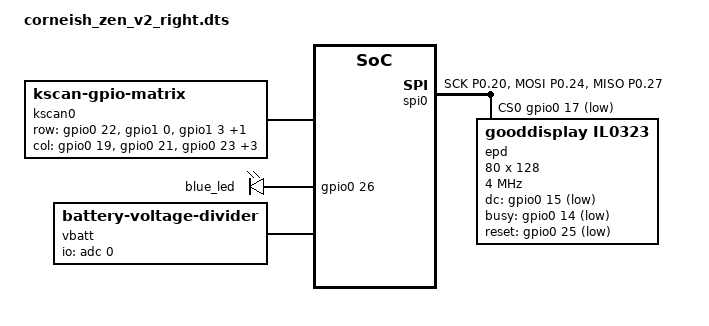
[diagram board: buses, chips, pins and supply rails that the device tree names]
/*
*
* Copyright (c) 2021 Darryl deHaan
* SPDX-License-Identifier: MIT
*
*/

#include "corneish_zen.dtsi"

/{
    chosen {
        zephyr,display = &epd;
        zmk,battery = &vbatt;
    };

    kscan0: kscan {
        compatible = "zmk,kscan-gpio-matrix";

        diode-direction = "col2row";
        row-gpios
            = <&gpio0 22 (GPIO_ACTIVE_HIGH | GPIO_PULL_DOWN)>
            , <&gpio1  0 (GPIO_ACTIVE_HIGH | GPIO_PULL_DOWN)>
            , <&gpio1  3 (GPIO_ACTIVE_HIGH | GPIO_PULL_DOWN)>
            , <&gpio1  1 (GPIO_ACTIVE_HIGH | GPIO_PULL_DOWN)>
            ;

        col-gpios
            = <&gpio0 19 GPIO_ACTIVE_HIGH>
            , <&gpio0 21 GPIO_ACTIVE_HIGH>
            , <&gpio0 23 GPIO_ACTIVE_HIGH>
            , <&gpio0 12 GPIO_ACTIVE_HIGH>
            , <&gpio1  9 GPIO_ACTIVE_HIGH>
            , <&gpio0  7 GPIO_ACTIVE_HIGH>
            ;
    };

    leds {
        compatible = "gpio-leds";
        blue_led: led_0 {
            gpios = <&gpio0 26 GPIO_ACTIVE_HIGH>;
        };
    };

    vbatt: vbatt {
        compatible = "zmk,battery-voltage-divider";
        io-channels = <&adc 0>;
        output-ohms = <1960000>;
        full-ohms = <(1960000 + 810000)>;
    };
};

&default_transform {
    col-offset = <6>;
};

&five_column_transform {
    col-offset = <6>;
};

&pinctrl {
    spi0_default: spi0_default {
        group1 {
            psels = <NRF_PSEL(SPIM_SCK, 0, 20)>,
                <NRF_PSEL(SPIM_MOSI, 0, 24)>,
                <NRF_PSEL(SPIM_MISO, 0, 27)>;
        };
    };

    spi0_sleep: spi0_sleep {
        group1 {
            psels = <NRF_PSEL(SPIM_SCK, 0, 20)>,
                <NRF_PSEL(SPIM_MOSI, 0, 24)>,
                <NRF_PSEL(SPIM_MISO, 0, 27)>;
            low-power-enable;
        };
    };
};

&spi0 {
    status = "okay";
    compatible = "nordic,nrf-spim";
    pinctrl-0 = <&spi0_default>;
    pinctrl-1 = <&spi0_sleep>;
    pinctrl-names = "default", "sleep";
    cs-gpios = <&gpio0 17 GPIO_ACTIVE_LOW>;

    epd: il0323@0 {
        compatible = "gooddisplay,il0323";
        reg =  <0>;
        width = <80>;
        height = <128>;
        spi-max-frequency = <4000000>;
        dc-gpios = <&gpio0 15 GPIO_ACTIVE_LOW>;
        busy-gpios = <&gpio0 14 GPIO_ACTIVE_LOW>;
        reset-gpios = <&gpio0 25 GPIO_ACTIVE_LOW>;
        pwr = [03 00 26 26];
        cdi = <0xd2>;
        tcon = <0x22>;
    };
};
